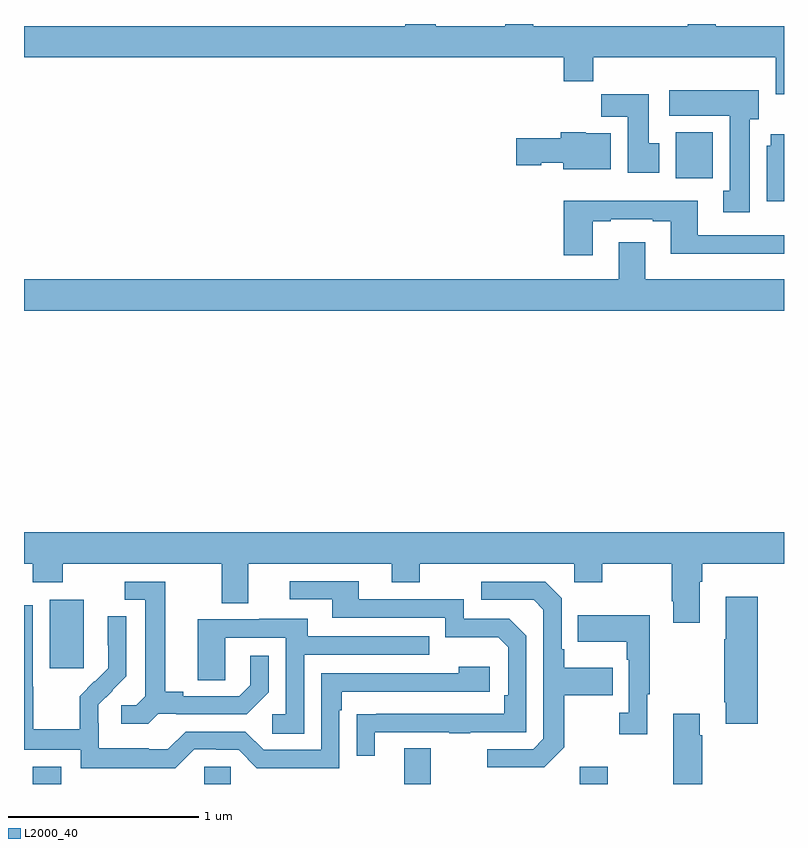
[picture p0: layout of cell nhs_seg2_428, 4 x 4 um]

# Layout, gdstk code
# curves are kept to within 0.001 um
import gdstk
lib = gdstk.Library(unit=1e-6, precision=1e-09)
def R(c, l, rs):  # rectangles x0, y0, x1, y1
    for r in rs: c.add(gdstk.rectangle(r[:2], r[2:], *l))
def P(c, l, *ps):  # polygons
    for p in ps: c.add(gdstk.Polygon(p, *l))
L2000_40 = (2000, 40)

nhs_seg2_428 = lib.new_cell('nhs_seg2_428')
R(nhs_seg2_428, L2000_40, [(131.045,655.8,131.197,655.891), (131.949,655.8,132.087,655.89), (133.001,655.8,133.141,655.987), (133.925,655.8,134.073,655.891), (131.135,656.409,131.314,656.77), (134.429,658.988,134.626,659.23)])
P(nhs_seg2_428, L2000_40, [(135,659.788),(134.641,659.788),(134.641,659.8),(134.494,659.8),(134.494,659.788),(133.68,659.788),(133.68,659.8),(133.534,659.8),(133.534,659.788),(133.167,659.788),(133.167,659.8),(133.007,659.8),(133.007,659.788),(131,659.788),(131,659.624),(133.841,659.624),(133.841,659.5),(133.997,659.5),(133.997,659.624),(134.957,659.624),(134.957,659.43),(135,659.43)],
  [(134.821,659.298),(134.866,659.298),(134.866,659.452),(134.397,659.452),(134.397,659.318),(134.714,659.318),(134.714,658.922),(134.681,658.922),(134.681,658.809),(134.821,658.809)],
  [(134.344,659.172),(134.287,659.172),(134.287,659.431),(134.038,659.431),(134.038,659.312),(134.177,659.312),(134.177,659.016),(134.344,659.016)],
  [(134.089,659.224),(133.956,659.224),(133.956,659.23),(133.826,659.23),(133.826,659.199),(133.59,659.199),(133.59,659.057),(133.722,659.057),(133.722,659.069),(133.838,659.069),(133.838,659.036),(134.089,659.036)],
  [(135,659.221),(134.93,659.221),(134.93,659.16),(134.909,659.16),(134.909,658.868),(135,658.868)],
  [(133.993,658.761),(134.089,658.761),(134.089,658.773),(134.309,658.773),(134.309,658.761),(134.405,658.761),(134.405,658.592),(135,658.592),(135,658.689),(134.545,658.689),(134.545,658.87),(133.841,658.87),(133.841,658.584),(133.993,658.584)],
  [(135,658.456),(134.269,658.456),(134.269,658.651),(134.129,658.651),(134.129,658.456),(131,658.456),(131,658.292),(135,658.292)],
  [(134.557,656.864),(134.57,656.864),(134.57,656.96),(135,656.96),(135,657.124),(131,657.124),(131,656.96),(131.045,656.96),(131.045,656.861),(131.205,656.861),(131.205,656.96),(132.041,656.96),(132.041,656.752),(132.181,656.752),(132.181,656.96),(132.935,656.96),(132.935,656.861),(133.083,656.861),(133.083,656.96),(133.896,656.96),(133.896,656.861),(134.043,656.861),(134.043,656.96),(134.41,656.96),(134.41,656.761),(134.417,656.761),(134.417,656.649),(134.557,656.649)],
  [(132.847,656.073),(133.237,656.073),(133.237,656.068),(133.349,656.068),(133.349,656.073),(133.644,656.073),(133.644,656.58),(133.554,656.67),(133.314,656.67),(133.314,656.772),(132.763,656.772),(132.763,656.868),(132.399,656.868),(132.399,656.772),(132.623,656.772),(132.623,656.676),(133.218,656.676),(133.218,656.573),(133.495,656.573),(133.548,656.52),(133.548,656.266),(133.528,656.266),(133.528,656.169),(132.751,656.168),(132.751,655.95),(132.847,655.95)],
  [(131.706,656.169),(131.8,656.169),(131.8,656.166),(132.172,656.166),(132.288,656.282),(132.288,656.476),(132.191,656.476),(132.191,656.319),(132.134,656.262),(131.839,656.262),(131.839,656.285),(131.743,656.285),(131.743,656.865),(131.529,656.865),(131.529,656.769),(131.639,656.769),(131.639,656.261),(131.592,656.214),(131.511,656.214),(131.511,656.117),(131.654,656.117)],
  [(133.843,655.993),(133.843,656.266),(134.099,656.266),(134.099,656.413),(133.843,656.413),(133.843,656.509),(133.83,656.509),(133.83,656.778),(133.743,656.865),(133.407,656.865),(133.407,656.769),(133.683,656.769),(133.734,656.718),(133.734,656.037),(133.68,655.983),(133.437,655.983),(133.437,655.887),(133.737,655.887)],
  [(134.861,656.785),(134.693,656.785),(134.693,656.561),(134.686,656.561),(134.686,656.23),(134.693,656.23),(134.693,656.118),(134.861,656.118)],
  [(131.895,655.983),(132.011,655.983),(132.011,655.98),(132.129,655.98),(132.225,655.884),(132.66,655.884),(132.66,656.189),(132.673,656.189),(132.673,656.286),(133.45,656.286),(133.45,656.416),(133.289,656.416),(133.289,656.382),(132.564,656.382),(132.564,655.98),(132.261,655.98),(132.165,656.076),(131.85,656.076),(131.757,655.983),(131.657,655.983),(131.657,655.987),(131.394,655.987),(131.394,656.121),(131.392,656.121),(131.392,656.218),(131.538,656.366),(131.538,656.684),(131.442,656.684),(131.442,656.53),(131.444,656.53),(131.444,656.408),(131.373,656.337),(131.37,656.34),(131.293,656.263),(131.293,656.089),(131.049,656.089),(131.049,656.312),(131.046,656.312),(131.046,656.742),(131,656.742),(131,655.98),(131.298,655.98),(131.298,655.883),(131.795,655.883)],
  [(134.281,656.273),(134.293,656.273),(134.293,656.689),(133.915,656.689),(133.915,656.549),(134.172,656.549),(134.172,656.453),(134.184,656.453),(134.184,656.174),(134.133,656.174),(134.133,656.061),(134.281,656.061)],
  [(132.474,656.481),(133.133,656.481),(133.133,656.577),(132.493,656.577),(132.493,656.671),(132.239,656.671),(132.239,656.667),(131.915,656.667),(131.915,656.347),(132.06,656.347),(132.06,656.571),(132.378,656.571),(132.378,656.166),(132.306,656.166),(132.306,656.065),(132.474,656.065)],
  [(134.57,656.057),(134.557,656.057),(134.557,656.17),(134.417,656.17),(134.417,655.8),(134.57,655.8)])

lib.write_gds('nhs_seg2_428.gds')
